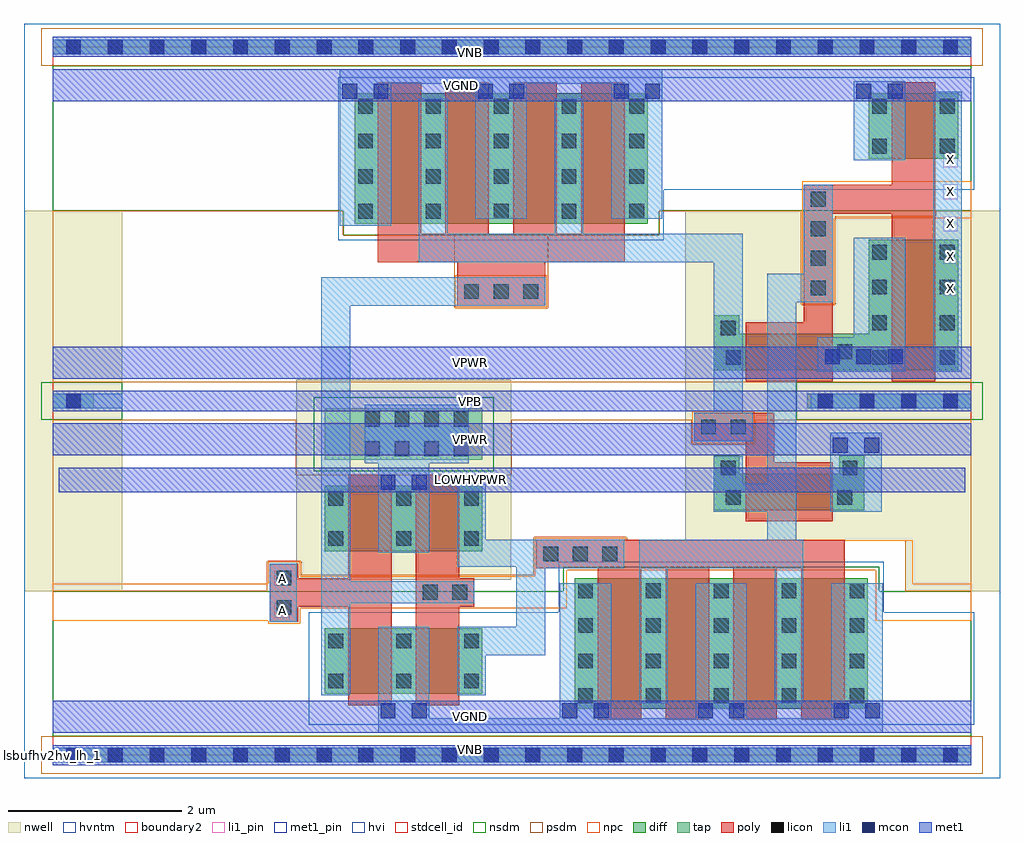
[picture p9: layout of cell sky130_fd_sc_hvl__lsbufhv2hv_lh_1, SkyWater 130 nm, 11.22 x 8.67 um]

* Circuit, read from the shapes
.subckt sky130_fd_sc_hvl__lsbufhv2hv_lh_1 A LOWHVPWR VGND VNB VPB VPWR X
XM1 VGND A n1 VNB sky130_fd_pr__nfet_g5v0d10v5 w=0.75 l=0.5
XM2 n2 n1 VGND VNB sky130_fd_pr__nfet_g5v0d10v5 w=1.5 l=0.5 m=4
XM3 n3 n1 VGND VNB sky130_fd_pr__nfet_g5v0d10v5 w=0.75 l=0.5
XM4 n4 n3 VGND VNB sky130_fd_pr__nfet_g5v0d10v5 w=1.5 l=0.5 m=4
XM5 X n4 VGND VNB sky130_fd_pr__nfet_g5v0d10v5 w=0.75 l=0.5
XM6 LOWHVPWR A n1 LOWHVPWR sky130_fd_pr__pfet_g5v0d10v5 w=0.75 l=0.5
XM7 n3 n1 LOWHVPWR LOWHVPWR sky130_fd_pr__pfet_g5v0d10v5 w=0.75 l=0.5
XM8 VPWR n2 n4 VPB sky130_fd_pr__pfet_g5v0d10v5 w=0.42 l=1
XM9 VPWR n4 n2 VPB sky130_fd_pr__pfet_g5v0d10v5 w=0.42 l=1
XM10 X n4 VPWR VPB sky130_fd_pr__pfet_g5v0d10v5 w=1.5 l=0.5
.ends

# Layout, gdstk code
import gdstk
lib = gdstk.Library(unit=1e-6, precision=1e-09)
def R(c, l, rs):  # rectangles x0, y0, x1, y1
    for r in rs: c.add(gdstk.rectangle(r[:2], r[2:], *l))
def A(c, l, x, y, w, h, nx, ny, dx, dy):  # array of equal rectangles
    R(c, l, [(x+i*dx, y+j*dy, x+i*dx+w, y+j*dy+h) for i in range(nx) for j in range(ny)])
def P(c, l, *ps):  # polygons
    for p in ps: c.add(gdstk.Polygon(p, *l))
nwell = (64, 20)
diff = (65, 20)
tap = (65, 44)
poly = (66, 20)
licon = (66, 44)
li1_pin = (67, 16)
li1 = (67, 20)
mcon = (67, 44)
met1_pin = (68, 16)
met1 = (68, 20)
hvi = (75, 20)
stdcell_id = (81, 4)
nsdm = (93, 44)
psdm = (94, 20)
npc = (95, 20)
hvntm = (125, 20)
boundary2 = (236, 0)

sky130_fd_sc_hvl__lsbufh = lib.new_cell('sky130_fd_sc_hvl__lsbufhv2hv_lh_1')
R(sky130_fd_sc_hvl__lsbufh, nwell, [(-0.33,1.885,0.8,6.255), (2.8,2.015,5.27,4.315)])
P(sky130_fd_sc_hvl__lsbufh, nwell, [(10.89,6.255),(7.27,6.255),(7.27,2.465),(9.8,2.465),(9.8,1.885),(10.89,1.885)])
R(sky130_fd_sc_hvl__lsbufh, diff, [(6,0.535,9.37,2.035), (3.13,0.705,4.94,1.455), (3.13,2.345,4.94,3.095), (3.47,6.105,6.84,7.605), (9.38,6.855,10.41,7.605)])
P(sky130_fd_sc_hvl__lsbufh, diff, [(9.33,3.445),(9.04,3.445),(9.04,3.235),(7.89,3.235),(7.89,3.445),(7.6,3.445),(7.6,2.815),(9.33,2.815)],
  [(10.41,5.925),(9.38,5.925),(9.38,4.845),(7.89,4.845),(7.89,5.055),(7.6,5.055),(7.6,4.425),(10.41,4.425)])
R(sky130_fd_sc_hvl__lsbufh, tap, [(0,-0.085,10.56,0.085), (3.13,3.395,4.94,3.985), (0,3.985,0.47,4.155), (8.675,3.985,10.56,4.155), (0,8.055,10.56,8.225)])
P(sky130_fd_sc_hvl__lsbufh, poly, [(3.895,3.225),(3.395,3.225),(3.395,2.035),(2.825,2.035),(2.825,2.2),(2.495,2.2),(2.495,1.53),(2.825,1.53),(2.825,1.705),(3.395,1.705),(3.395,0.575),(3.895,0.575)],
  [(4.845,2.035),(4.675,2.035),(4.675,3.225),(4.175,3.225),(4.175,0.575),(4.675,0.575),(4.675,1.705),(4.845,1.705)],
  [(6.575,7.735),(6.075,7.735),(6.075,5.995),(5.795,5.995),(5.795,7.735),(5.295,7.735),(5.295,5.995),(5.015,5.995),(5.015,7.735),(4.515,7.735),(4.515,5.995),(4.235,5.995),(4.235,7.735),(3.735,7.735),(3.735,5.665),(4.65,5.665),(4.65,5.165),(5.66,5.165),(5.66,5.665),(6.575,5.665)],
  [(8.965,3.365),(8.295,3.365),(8.295,3.935),(7.375,3.935),(7.375,3.605),(7.965,3.605),(7.965,2.685),(8.965,2.685)],
  [(9.105,2.475),(5.56,2.475),(5.56,2.145),(6.265,2.145),(6.265,0.405),(6.765,0.405),(6.765,2.145),(7.045,2.145),(7.045,0.405),(7.545,0.405),(7.545,2.145),(7.825,2.145),(7.825,0.405),(8.325,0.405),(8.325,2.145),(8.605,2.145),(8.605,0.405),(9.105,0.405)],
  [(10.145,7.735),(9.645,7.735),(9.645,6.555),(8.635,6.555),(8.635,4.975),(7.965,4.975),(7.965,4.295),(8.965,4.295),(8.965,6.225),(9.645,6.225),(9.645,4.295),(10.145,4.295)])
A(sky130_fd_sc_hvl__lsbufh, licon, 0.155, -0.085, 0.17, 0.17, 22, 2, 0.48, 8.14)
A(sky130_fd_sc_hvl__lsbufh, licon, 6.04, 0.595, 0.17, 0.17, 5, 2, 0.78, 0.4)
A(sky130_fd_sc_hvl__lsbufh, licon, 3.17, 0.765, 0.17, 0.17, 3, 2, 0.78, 0.46)
A(sky130_fd_sc_hvl__lsbufh, licon, 6.04, 1.405, 0.17, 0.17, 5, 2, 0.78, 0.4)
A(sky130_fd_sc_hvl__lsbufh, licon, 5.64, 2.225, 0.17, 0.17, 3, 1, 0.34, 0)
A(sky130_fd_sc_hvl__lsbufh, licon, 3.17, 2.405, 0.17, 0.17, 3, 2, 0.78, 0.46)
A(sky130_fd_sc_hvl__lsbufh, licon, 3.59, 3.435, 0.17, 0.17, 4, 2, 0.34, 0.34)
A(sky130_fd_sc_hvl__lsbufh, licon, 8.795, 3.985, 0.17, 0.17, 4, 1, 0.48, 0)
A(sky130_fd_sc_hvl__lsbufh, licon, 4.73, 5.245, 0.17, 0.17, 3, 1, 0.34, 0)
A(sky130_fd_sc_hvl__lsbufh, licon, 8.715, 5.285, 0.17, 0.17, 1, 4, 0, 0.34)
A(sky130_fd_sc_hvl__lsbufh, licon, 3.51, 6.165, 0.17, 0.17, 5, 2, 0.78, 0.4)
A(sky130_fd_sc_hvl__lsbufh, licon, 3.51, 6.975, 0.17, 0.17, 5, 2, 0.78, 0.4)
R(sky130_fd_sc_hvl__lsbufh, licon, [(2.575,1.61,2.745,1.78), (4.255,1.785,4.425,1.955), (4.595,1.785,4.765,1.955), (2.575,1.95,2.745,2.12), (7.74,2.875,7.91,3.045), (9.02,2.875,9.19,3.045), (7.68,3.215,7.85,3.385), (9.08,3.215,9.25,3.385), (7.455,3.685,7.625,3.855), (7.795,3.685,7.965,3.855), (0.155,3.985,0.325,4.155), (7.74,4.485,7.91,4.655), (9.42,4.485,9.59,4.655), (10.2,4.485,10.37,4.655), (9.02,4.55,9.19,4.72), (7.68,4.825,7.85,4.995), (9.42,4.885,9.59,5.055), (10.2,4.885,10.37,5.055), (9.42,5.295,9.59,5.465), (10.2,5.295,10.37,5.465), (9.42,5.695,9.59,5.865), (10.2,5.695,10.37,5.865), (9.42,6.915,9.59,7.085), (10.2,6.915,10.37,7.085), (9.42,7.375,9.59,7.545), (10.2,7.375,10.37,7.545)])
A(sky130_fd_sc_hvl__lsbufh, li1_pin, 10.235, 5.28, 0.17, 0.17, 1, 5, 0, 0.37)
R(sky130_fd_sc_hvl__lsbufh, li1_pin, [(2.555,1.58,2.725,1.75), (2.555,1.95,2.725,2.12)])
R(sky130_fd_sc_hvl__lsbufh, li1, [(0,-0.085,10.56,0.085), (2.495,1.53,2.805,2.2), (8.94,2.795,9.53,3.705), (0,3.985,0.8,4.155), (8.715,3.985,10.56,4.155), (10.12,4.405,10.45,7.625), (9.21,6.835,9.8,7.745), (0,8.055,10.56,8.225)])
P(sky130_fd_sc_hvl__lsbufh, li1, [(4.78,4.025),(3.59,4.025),(3.59,3.355),(3.74,3.355),(3.74,2.325),(4.33,2.325),(4.33,3.355),(4.78,3.355)],
  [(5.66,5.495),(3.09,5.495),(3.09,0.685),(3.42,0.685),(3.42,1.745),(4.845,1.745),(4.845,1.995),(3.42,1.995),(3.42,5.165),(5.66,5.165)],
  [(6.57,2.475),(4.98,2.475),(4.98,3.115),(4.65,3.115),(4.65,2.165),(5.33,2.165),(5.33,1.475),(4.65,1.475),(4.65,0.685),(4.98,0.685),(4.98,1.145),(5.66,1.145),(5.66,2.145),(6.57,2.145)],
  [(7.01,7.885),(3.3,7.885),(3.3,6.085),(3.89,6.085),(3.89,7.715),(4.86,7.715),(4.86,6.165),(5.45,6.165),(5.45,7.715),(6.42,7.715),(6.42,6.165),(7.01,6.165)],
  [(8.045,3.935),(7.93,3.935),(7.93,5.995),(6.1,5.995),(6.1,7.545),(5.77,7.545),(5.77,5.995),(4.54,5.995),(4.54,7.545),(4.21,7.545),(4.21,5.665),(7.6,5.665),(7.6,3.935),(7.375,3.935),(7.375,3.605),(8.045,3.605)],
  [(8.965,6.555),(8.635,6.555),(8.635,5.535),(8.215,5.535),(8.215,3.125),(7.93,3.125),(7.93,3.435),(7.6,3.435),(7.6,2.795),(8.215,2.795),(8.215,2.475),(6.74,2.475),(6.74,0.595),(7.07,0.595),(7.07,2.145),(8.3,2.145),(8.3,0.595),(8.63,0.595),(8.63,2.475),(8.545,2.475),(8.545,5.205),(8.965,5.205)],
  [(9.54,1.975),(8.95,1.975),(8.95,0.425),(7.98,0.425),(7.98,1.975),(7.39,1.975),(7.39,0.425),(6.42,0.425),(6.42,1.975),(5.83,1.975),(5.83,0.425),(4.33,0.425),(4.33,1.475),(3.74,1.475),(3.74,0.255),(9.54,0.255)],
  [(9.8,5.945),(9.21,5.945),(9.21,4.8),(8.79,4.8),(8.79,4.405),(9.8,4.405)])
A(sky130_fd_sc_hvl__lsbufh, mcon, 0.155, -0.085, 0.17, 0.17, 22, 2, 0.48, 8.14)
A(sky130_fd_sc_hvl__lsbufh, mcon, 8.795, 3.985, 0.17, 0.17, 4, 1, 0.48, 0)
A(sky130_fd_sc_hvl__lsbufh, mcon, 8.88, 4.495, 0.17, 0.17, 3, 1, 0.36, 0)
R(sky130_fd_sc_hvl__lsbufh, mcon, [(3.77,0.425,3.94,0.595), (4.13,0.425,4.3,0.595), (5.86,0.425,6.03,0.595), (6.22,0.425,6.39,0.595), (7.42,0.425,7.59,0.595), (7.78,0.425,7.95,0.595), (8.98,0.425,9.15,0.595), (9.34,0.425,9.51,0.595), (3.77,3.05,3.94,3.22), (4.13,3.05,4.3,3.22), (8.97,3.475,9.14,3.645), (9.33,3.475,9.5,3.645), (0.155,3.985,0.325,4.155), (3.33,7.545,3.5,7.715), (3.69,7.545,3.86,7.715), (4.89,7.545,5.06,7.715), (5.25,7.545,5.42,7.715), (6.45,7.545,6.62,7.715), (6.81,7.545,6.98,7.715), (9.24,7.545,9.41,7.715), (9.6,7.545,9.77,7.715)])
R(sky130_fd_sc_hvl__lsbufh, met1_pin, [(0,0,10.56,0.115), (0,0.255,10.56,0.625), (0.07,3.02,10.49,3.305), (0,3.445,10.56,3.815), (0,3.955,10.56,4.185), (0,4.325,10.56,4.695), (0,7.515,10.56,7.885), (0,8.025,10.56,8.14)])
A(sky130_fd_sc_hvl__lsbufh, met1, 0, -0.115, 10.56, 0.23, 1, 3, 0, 4.07)
R(sky130_fd_sc_hvl__lsbufh, met1, [(0,0.255,10.56,0.625), (0.07,3.02,10.49,3.305), (0,3.445,10.56,3.815), (0,4.325,10.56,4.695), (0,7.515,10.56,7.885)])
R(sky130_fd_sc_hvl__lsbufh, hvi, [(-0.33,-0.265,10.89,8.405)])
R(sky130_fd_sc_hvl__lsbufh, stdcell_id, [(0,0,10.56,8.14)])
R(sky130_fd_sc_hvl__lsbufh, nsdm, [(3,3.265,5.07,4.115), (-0.13,3.855,0.8,4.285), (8.545,3.855,10.69,4.285)])
P(sky130_fd_sc_hvl__lsbufh, nsdm, [(10.56,1.885),(9.5,1.885),(9.5,2.165),(5.87,2.165),(5.87,1.885),(0,1.885),(0,0.215),(10.56,0.215)],
  [(10.56,7.925),(0,7.925),(0,6.255),(3.34,6.255),(3.34,5.975),(6.97,5.975),(6.97,6.255),(10.56,6.255)])
R(sky130_fd_sc_hvl__lsbufh, psdm, [(-0.13,-0.215,10.69,0.215), (-0.13,7.925,10.69,8.355)])
P(sky130_fd_sc_hvl__lsbufh, psdm, [(10.56,6.255),(10.15,6.255),(10.15,6.195),(8.995,6.195),(8.995,5.175),(8.605,5.175),(8.605,6.255),(6.97,6.255),(6.97,5.975),(5.69,5.975),(5.69,5.135),(4.62,5.135),(4.62,5.975),(3.34,5.975),(3.34,6.255),(0,6.255),(0,4.285),(10.56,4.285)],
  [(10.56,3.855),(8.075,3.855),(8.075,3.575),(7.345,3.575),(7.345,3.855),(5.27,3.855),(5.27,3.225),(2.8,3.225),(2.8,3.855),(0,3.855),(0,1.885),(2.465,1.885),(2.465,2.23),(2.855,2.23),(2.855,2.065),(5.53,2.065),(5.53,2.505),(6.6,2.505),(6.6,2.465),(9.8,2.465),(9.8,1.885),(10.56,1.885)])
R(sky130_fd_sc_hvl__lsbufh, npc, [(7.355,3.585,8.065,3.955), (4.63,5.145,5.68,5.515)])
P(sky130_fd_sc_hvl__lsbufh, npc, [(10.56,1.97),(9.885,1.97),(9.885,2.47),(6.59,2.47),(6.59,2.495),(5.54,2.495),(5.54,2.055),(2.845,2.055),(2.845,2.22),(2.475,2.22),(2.475,1.97),(0,1.97),(0,1.545),(2.475,1.545),(2.475,1.51),(2.845,1.51),(2.845,1.685),(5.91,1.685),(5.91,2.125),(9.46,2.125),(9.46,1.545),(10.56,1.545)],
  [(10.56,6.595),(8.615,6.595),(8.615,5.185),(8.985,5.185),(8.985,6.17),(10.56,6.17)])
P(sky130_fd_sc_hvl__lsbufh, hvntm, [(10.595,7.79),(3.285,7.79),(3.285,5.92),(7.025,5.92),(7.025,6.5),(10.595,6.5)],
  [(10.595,1.64),(9.555,1.64),(9.555,2.22),(5.815,2.22),(5.815,1.64),(2.945,1.64),(2.945,0.35),(10.595,0.35)])
R(sky130_fd_sc_hvl__lsbufh, boundary2, [(0,0,10.56,8.14)])
sky130_fd_sc_hvl__lsbufh.add(gdstk.Label('lsbufhv2hv_lh_1', (0,0), layer=83, texttype=44))
sky130_fd_sc_hvl__lsbufh.add(gdstk.Label('VPWR', (4.8,4.51), layer=68, texttype=5))
sky130_fd_sc_hvl__lsbufh.add(gdstk.Label('VPWR', (4.8,3.63), layer=68, texttype=5))
sky130_fd_sc_hvl__lsbufh.add(gdstk.Label('VGND', (4.7,7.7), layer=68, texttype=5))
sky130_fd_sc_hvl__lsbufh.add(gdstk.Label('VGND', (4.8,0.44), layer=68, texttype=5))
sky130_fd_sc_hvl__lsbufh.add(gdstk.Label('VNB', (4.8,0.058), layer=68, texttype=5))
sky130_fd_sc_hvl__lsbufh.add(gdstk.Label('LOWHVPWR', (4.8,3.165), layer=68, texttype=5))
sky130_fd_sc_hvl__lsbufh.add(gdstk.Label('VPB', (4.8,4.068), layer=68, texttype=5))
sky130_fd_sc_hvl__lsbufh.add(gdstk.Label('VNB', (4.8,8.082), layer=68, texttype=5))
sky130_fd_sc_hvl__lsbufh.add(gdstk.Label('A', (2.64,2.035), layer=67, texttype=5))
sky130_fd_sc_hvl__lsbufh.add(gdstk.Label('A', (2.64,1.665), layer=67, texttype=5))
sky130_fd_sc_hvl__lsbufh.add(gdstk.Label('X', (10.32,6.105), layer=67, texttype=5))
sky130_fd_sc_hvl__lsbufh.add(gdstk.Label('X', (10.32,5.735), layer=67, texttype=5))
sky130_fd_sc_hvl__lsbufh.add(gdstk.Label('X', (10.32,5.365), layer=67, texttype=5))
sky130_fd_sc_hvl__lsbufh.add(gdstk.Label('X', (10.32,6.475), layer=67, texttype=5))
sky130_fd_sc_hvl__lsbufh.add(gdstk.Label('X', (10.32,6.845), layer=67, texttype=5))

lib.write_gds('sky130_fd_sc_hvl__lsbufhv2hv_lh_1.gds')
